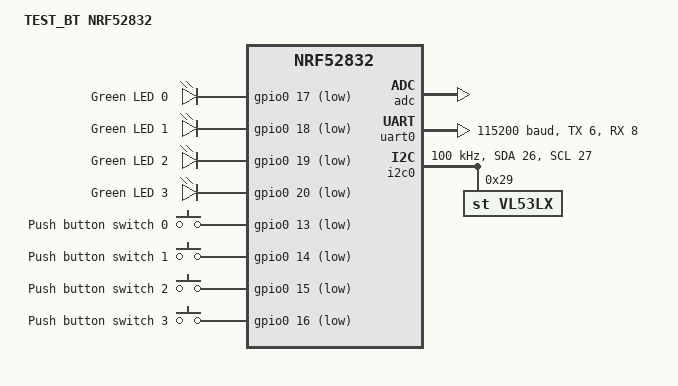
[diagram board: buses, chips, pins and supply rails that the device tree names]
/*
 * Copyright (c) 2018 Nordic Semiconductor ASA
 * Copyright (c) 2017 Shawn Nock <shawn@monadnock.ca>
 * Copyright (c) 2017 Linaro Limited
 *
 * SPDX-License-Identifier: Apache-2.0
 */

/dts-v1/;
#include <nordic/nrf52832_qfaa.dtsi>
#include <dt-bindings/gpio/gpio.h>

/ {
	model = "TEST_BT NRF52832";
	compatible = "nordic,test_bt_nrf52832";

	chosen {
		zephyr,console = &uart0;
		zephyr,shell-uart = &uart0;
		zephyr,uart-mcumgr = &uart0;
		zephyr,bt-mon-uart = &uart0;
		zephyr,bt-c2h-uart = &uart0;
		zephyr,sram = &sram0;
		zephyr,flash = &flash0;
		zephyr,code-partition = &slot0_partition;
	};

	leds {
		compatible = "gpio-leds";
		led0: led_0 {
			gpios = <&gpio0 17 GPIO_ACTIVE_LOW>;
			label = "Green LED 0";
		};
		led1: led_1 {
			gpios = <&gpio0 18 GPIO_ACTIVE_LOW>;
			label = "Green LED 1";
		};
		led2: led_2 {
			gpios = <&gpio0 19 GPIO_ACTIVE_LOW>;
			label = "Green LED 2";
		};
		led3: led_3 {
			gpios = <&gpio0 20 GPIO_ACTIVE_LOW>;
			label = "Green LED 3";
		};
	};

	tof {
		compatible = "st,vl53lx"; // Out of tree module
		//compatible = "gpio-leds"; // HACK it works with that but this is part of the Zephyr tree
		tof1: tof_int {
			label = "TOF interrupt INT";
			gpios = <&gpio0 6 (GPIO_PULL_UP | GPIO_ACTIVE_LOW)>;
		};
		tof2: tof_xshut {
			gpios = <&gpio0 7 GPIO_ACTIVE_LOW>;
			label = "Xshutdown active low";
		};
	};

	gpio_keys {
		compatible = "gpio-keys";
		button0: button_0 {
			label = "Push button switch 0";
			gpios = <&gpio0 13 (GPIO_PULL_UP | GPIO_ACTIVE_LOW)>;
		};
		button1: button_1 {
			label = "Push button switch 1";
			gpios = <&gpio0 14 (GPIO_PULL_UP | GPIO_ACTIVE_LOW)>;
		};
		button2: button_2 {
			label = "Push button switch 2";
			gpios = <&gpio0 15 (GPIO_PULL_UP | GPIO_ACTIVE_LOW)>;
		};
		button3: button_3 {
			label = "Push button switch 3";
			gpios = <&gpio0 16 (GPIO_PULL_UP | GPIO_ACTIVE_LOW)>;
		};
	};



	/* These aliases are provided for compatibility with samples */
	aliases {
		led0 = &led0;
		led1 = &led1;
		led2 = &led2;
		led3 = &led3;
		sw0 = &button0;
		sw1 = &button1;
		sw2 = &button2;
		sw3 = &button3;
		inter = &tof1;
		xshut = &tof2;
	};


};

&adc {
	status = "okay";
};

&gpiote {
	status = "okay";
};

&gpio0 {
	status = "okay";
};

&uart0 {
	compatible = "nordic,nrf-uarte";
	status = "okay";
	current-speed = <115200>;
	tx-pin = <6>;
	rx-pin = <8>;
};

&i2c0{
	compatible = "nordic,nrf-twi";
	/* Cannot be used together with spi1. */
	status = "okay";
	clock-frequency = <100000>;
	sda-pin = <26>;
	scl-pin = <27>;

	/* The I2C address could be one of two, here 0x52 is assumed */
	vl53lx@29 {
		compatible = "st,vl53lx"; // This is working but the GPIO are not
		reg = <0x29>; /* 0x52>>1 */
		label = "VL53LX";
	};
};

&spi1 {
	status = "disabled";
};

&flash0 {

	partitions {
		compatible = "fixed-partitions";
		#address-cells = <1>;
		#size-cells = <1>;

		boot_partition: partition@0 {
			label = "mcuboot";
			reg = <0x00000000 0xc000>;
		};
		slot0_partition: partition@c000 {
			label = "image-0";
			reg = <0x0000C000 0x32000>;
		};
		slot1_partition: partition@3e000 {
			label = "image-1";
			reg = <0x0003E000 0x32000>;
		};
		scratch_partition: partition@70000 {
			label = "image-scratch";
			reg = <0x00070000 0xa000>;
		};
		storage_partition: partition@7a000 {
			label = "storage";
			reg = <0x0007a000 0x00006000>;
		};
	};
};
